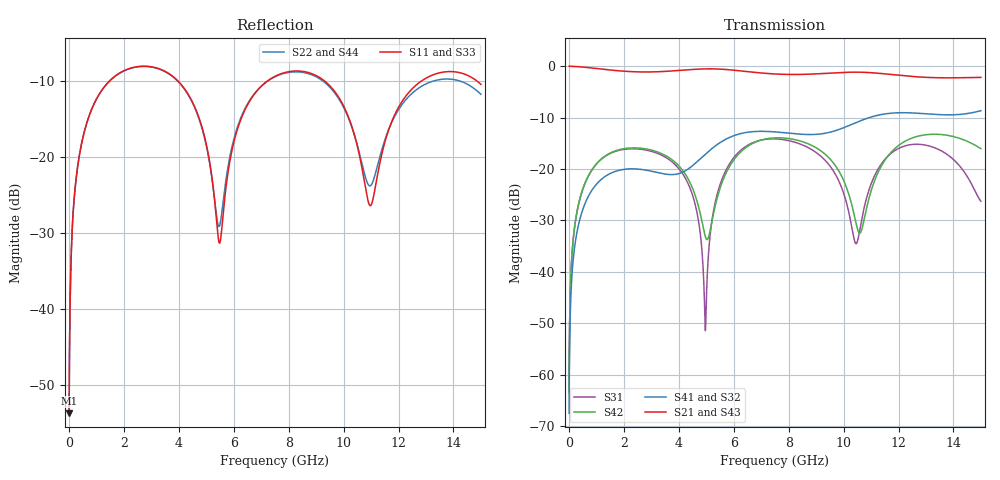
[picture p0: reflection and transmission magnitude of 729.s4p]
! Created with skrf 1.8.0 (http://scikit-rf.org).
# GHz S RI R 50.0
!freq ReS11 ImS11 ReS12 ImS12 ReS13 ImS13
! ReS14 ImS14
! ReS21 ImS21 ReS22 ImS22 ReS23 ImS23
! ReS24 ImS24
! ReS31 ImS31 ReS32 ImS32 ReS33 ImS33
! ReS34 ImS34
! ReS41 ImS41 ReS42 ImS42 ReS43 ImS43
! ReS44 ImS44
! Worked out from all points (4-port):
!   2499 points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, 5 MHz to 15 GHz, reference 50 ohm
!   strongest paths, dB at 5 MHz, 3.476 GHz, 7.19 GHz, 11.1 GHz, 15 GHz:
!     S21: 0.0, -1.0, -1.4, -1.3, -2.2
!     S43: 0.0, -1.0, -1.4, -1.3, -2.2
!     S41: -67.5, -21.0, -12.7, -9.8, -8.7
!     S32: -67.5, -21.0, -12.7, -9.8, -8.7
!     S42: -63.5, -17.3, -14.1, -22.7, -16.1
!     S31: -63.5, -17.6, -14.2, -21.7, -26.3
!   lowest |S11| = -53.7 dB at 5 MHz (marker M1), VSWR 1.00, Z = 50.2 + j0.125 ohm
!   |S11| at or under -10 dB: start of sweep to 1.493 GHz; 3.953 GHz to 7.252 GHz (3.299 GHz wide, 58.9 % of centre); 9.286 GHz to 12.86 GHz (3.576 GHz wide, 32.3 % of centre) (the widest 3 of 4)
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0.005  0.00164 0.00124  0.9983 -0.00319  8.27e-05 0.000663  -8.03e-05 -0.000413
       0.9983 -0.00319  0.00164 0.00124  -8.03e-05 -0.000413  8.28e-05 0.000663
       8.27e-05 0.000663  -8.03e-05 -0.000413  0.00164 0.00124  0.9983 -0.00319
       -8.03e-05 -0.000413  8.28e-05 0.000663  0.9983 -0.00319  0.00164 0.00124
0.3626511  0.0302 0.0932  0.9584 -0.2282  0.0143 0.0448  -0.0121 -0.0274
           0.9584 -0.2282  0.0301 0.0932  -0.0121 -0.0274  0.0148 0.0447
           0.0143 0.0448  -0.0121 -0.0274  0.0302 0.0932  0.9584 -0.2282
           -0.0121 -0.0274  0.0148 0.0447  0.9584 -0.2282  0.0301 0.0932
1.619545  0.2833 0.172  0.521 -0.7455  0.132 0.0622  -0.0933 -0.00133
          0.521 -0.7455  0.2816 0.1732  -0.0932 -0.00147  0.1369 0.0551
          0.132 0.0622  -0.0932 -0.00147  0.2835 0.1719  0.521 -0.7455
          -0.0933 -0.00133  0.1369 0.0551  0.521 -0.7455  0.2816 0.1733
4.964569  0.0592 -0.1144  -0.8723 -0.349  0.00267 0.00018  -0.0464 0.1311
          -0.8723 -0.349  0.0655 -0.1079  -0.0482 0.1304  -0.0193 -0.0108
          0.00267 0.00018  -0.0482 0.1304  0.0591 -0.1158  -0.8721 -0.3491
          -0.0464 0.1311  -0.0193 -0.0108  -0.8721 -0.3491  0.0666 -0.1088
8.541059  0.3589 -0.0498  0.0173 0.831  0.1522 -0.0747  0.2032 -0.0759
          0.0173 0.831  0.3543 -0.0429  0.2034 -0.0712  0.1522 -0.101
          0.1522 -0.0747  0.2034 -0.0712  0.3604 -0.0507  0.0184 0.8307
          0.2032 -0.0759  0.1522 -0.101  0.0184 0.8307  0.3541 -0.0431
11.2797  0.0615 0.0562  0.8508 -0.0184  0.0315 0.0972  -0.0282 -0.3328
         0.8508 -0.0184  0.0776 0.0523  -0.0195 -0.3334  0.0436 0.0849
         0.0315 0.0972  -0.0195 -0.3334  0.0607 0.053  0.8509 -0.0196
         -0.0282 -0.3328  0.0436 0.0849  0.8509 -0.0196  0.0781 0.047
15  0.267 -0.1335  -0.3483 -0.6939  -0.023 -0.0427  -0.3206 0.1812
    -0.3483 -0.6939  0.2458 -0.0742  -0.3269 0.1701  -0.0532 -0.1483
    -0.023 -0.0427  -0.3269 0.1701  0.263 -0.1298  -0.3551 -0.6921
    -0.3206 0.1812  -0.0532 -0.1483  -0.3551 -0.6921  0.2387 -0.0755
